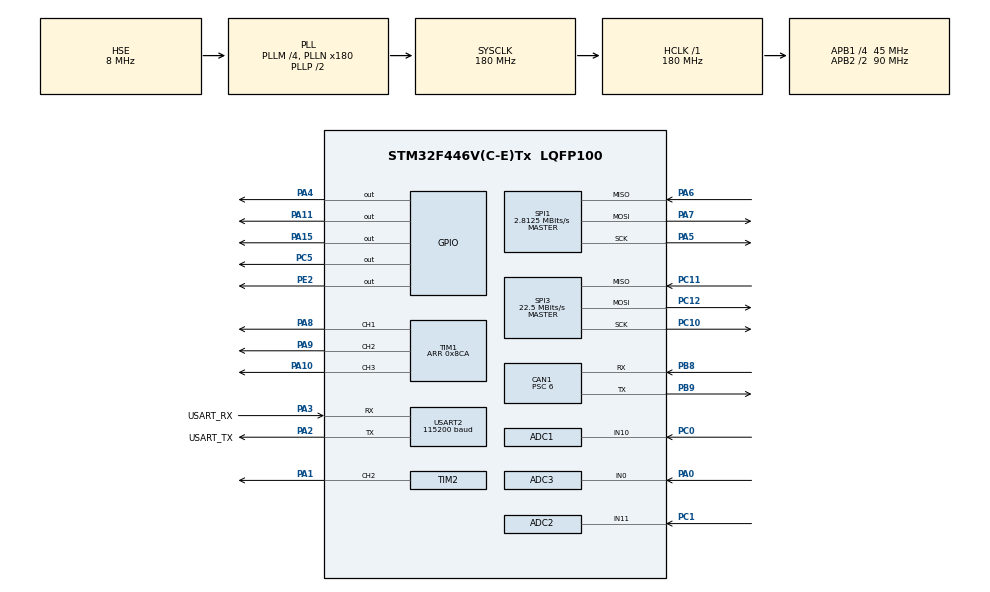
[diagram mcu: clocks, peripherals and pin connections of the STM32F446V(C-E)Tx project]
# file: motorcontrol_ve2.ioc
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Mcu.Family=STM32F4
PA11.GPIO_Speed=GPIO_SPEED_FREQ_VERY_HIGH
PA6.Mode=Full_Duplex_Master
PH0-OSC_IN.Signal=RCC_OSC_IN
RCC.CortexFreq_Value=180000000
SPI3.Direction=SPI_DIRECTION_2LINES
SPI3.VirtualType=VM_MASTER
SPI1.VirtualType=VM_MASTER
ADC2.Channel-0\#ChannelRegularConversion=ADC_CHANNEL_11
TIM1.RepetitionCounter=1
PC12.Signal=SPI3_MOSI
PC10.Signal=SPI3_SCK
PA14.GPIO_Label=TCK
PE2.GPIO_Speed=GPIO_SPEED_FREQ_VERY_HIGH
TIM1.OCFastMode_PWM-PWM\ Generation1\ CH1=TIM_OCFAST_ENABLE
ADC3.Mode=ADC_TRIPLEMODE_REGSIMULT
ADC3.Rank-2\#ChannelRegularConversion=1
RCC.SYSCLKSource=RCC_SYSCLKSOURCE_PLLCLK
ProjectManager.StackSize=0x400
SPI3.CLKPolarity=SPI_POLARITY_HIGH
ADC1.Mode=ADC_TRIPLEMODE_REGSIMULT
SPI1.Direction=SPI_DIRECTION_2LINES
RCC.HCLKFreq_Value=180000000
RCC.APB2TimFreq_Value=180000000
Dma.ADC1.0.Direction=DMA_PERIPH_TO_MEMORY
SPI1.CalculateBaudRate=2.8125 MBits/s
NVIC.DMA2_Stream0_IRQn=true\:0\:0\:false\:false\:true\:false\:true
ADC2.EOCSelection=ADC_EOC_SINGLE_CONV
Dma.ADC1.0.MemDataAlignment=DMA_MDATAALIGN_HALFWORD
RCC.AHBFreq_Value=180000000
PH0-OSC_IN.Mode=HSE-External-Oscillator
SPI3.DataSize=SPI_DATASIZE_16BIT
ADC1.Channel-0\#ChannelRegularConversion=ADC_CHANNEL_10
RCC.HSE_VALUE=8000000
RCC.RCC_RTC_Clock_Source_FROM_HSE=RCC_RTCCLKSOURCE_HSE_DIV20
ADC3.SamplingTime-2\#ChannelRegularConversion=ADC_SAMPLETIME_15CYCLES
PA4.GPIO_Speed=GPIO_SPEED_FREQ_VERY_HIGH
TIM1.Channel-PWM\ Generation1\ CH1=TIM_CHANNEL_1
PA14.Mode=Serial_Wire
Dma.ADC1.0.PeriphInc=DMA_PINC_DISABLE
NVIC.TIM2_IRQn=true\:0\:0\:false\:false\:true\:true\:true
SPI1.DataSize=SPI_DATASIZE_16BIT
PE2.Signal=GPIO_Output
PA8.Signal=S_TIM1_CH1
SH.ADCx_IN0.0=ADC3_IN0,IN0
SPI1.FirstBit=SPI_FIRSTBIT_MSB
ADC3.Channel-2\#ChannelRegularConversion=ADC_CHANNEL_0
VP_TIM1_VS_ClockSourceINT.Mode=Internal
ADC1.SamplingTime-0\#ChannelRegularConversion=ADC_SAMPLETIME_15CYCLES
RCC.FLatency-AdvancedSettings=FLASH_LATENCY_5
PH1-OSC_OUT.Mode=HSE-External-Oscillator
CAN1.Prescaler=6
Mcu.Package=LQFP100
PB9.Signal=CAN1_TX
TIM2.Prescaler=45-1
TIM2.Channel-Output\ Compare2\ CH2=TIM_CHANNEL_2
TIM2.OCMode_2=TIM_OCMODE_TOGGLE
PA6.Signal=SPI1_MISO
SPI3.Mode=SPI_MODE_MASTER
TIM2.OC2Preload=ENABLE
USART2.VirtualMode=VM_ASYNC
TIM1.OCFastMode_PWM-PWM\ Generation3\ CH3=TIM_OCFAST_ENABLE
PA2.GPIO_Label=USART_TX
PA10.Signal=S_TIM1_CH3
PA15.Signal=GPIO_Output
ADC2.SamplingTime-0\#ChannelRegularConversion=ADC_SAMPLETIME_15CYCLES
PC11.Mode=Full_Duplex_Master
ADC3.ClockPrescaler=ADC_CLOCK_SYNC_PCLK_DIV4
ADC3.DMAAccessMode=ADC_DMAACCESSMODE_1
PA10.GPIO_Speed=GPIO_SPEED_FREQ_VERY_HIGH
RCC.APB2CLKDivider=RCC_HCLK_DIV2
RCC.APB1TimFreq_Value=90000000
Dma.ADC1.0.FIFOMode=DMA_FIFOMODE_DISABLE
PC5.Signal=GPIO_Output
TIM1.Period=0x8CA
ADC2.Rank-0\#ChannelRegularConversion=1
Dma.Request0=ADC1
SPI1.BaudRatePrescaler=SPI_BAUDRATEPRESCALER_32
CAN1.CalculateTimeBit=1999.99
TIM1.OCFastMode_PWM-PWM\ Generation4\ No\ Output=TIM_OCFAST_ENABLE
ADC1.EOCSelection=ADC_EOC_SINGLE_CONV
PA8.GPIO_Speed=GPIO_SPEED_FREQ_VERY_HIGH
ADC2.DMAAccessMode=ADC_DMAACCESSMODE_1
PA3.Signal=USART2_RX
CAN1.CalculateTimeQuantum=133.33333333333331
PA5.Mode=Full_Duplex_Master
ADC2.ClockPrescaler=ADC_CLOCK_SYNC_PCLK_DIV4
RCC.PLLSourceVirtual=RCC_PLLSOURCE_HSE
TIM1.OCPolarity_1=TIM_OCPOLARITY_LOW
TIM1.OCPolarity_3=TIM_OCPOLARITY_LOW
Dma.ADC1.0.Instance=DMA2_Stream0
TIM1.OCPolarity_2=TIM_OCPOLARITY_LOW
ADC2.Mode=ADC_TRIPLEMODE_REGSIMULT
TIM1.OCPolarity_4=TIM_OCPOLARITY_LOW
ADC1.Rank-0\#ChannelRegularConversion=1
PA7.Mode=Full_Duplex_Master
TIM1.CounterMode=TIM_COUNTERMODE_CENTERALIGNED1
PC11.Signal=SPI3_MISO
CAN1.CalculateBaudRate=500000
PC10.Mode=Full_Duplex_Master
SPI1.CLKPhase=SPI_PHASE_2EDGE
PC0.Signal=ADCx_IN10
RCC.APB1CLKDivider=RCC_HCLK_DIV4
NVIC.USART2_IRQn=true\:3\:0\:true\:false\:true\:true\:true
USART2.BaudRate=115200
PA0-WKUP.Signal=ADCx_IN0
TIM1.OCFastMode_PWM-PWM\ Generation2\ CH2=TIM_OCFAST_ENABLE
PA13.Signal=SYS_JTMS-SWDIO
PA3.Mode=Asynchronous
TIM1.AutoReloadPreload=TIM_AUTORELOAD_PRELOAD_ENABLE
SH.S_TIM2_CH2.0=TIM2_CH2,Output Compare2 CH2
Dma.ADC1.0.PeriphDataAlignment=DMA_PDATAALIGN_HALFWORD
SH.S_TIM1_CH1.0=TIM1_CH1,PWM Generation1 CH1
CAN1.BS2=CAN_BS2_2TQ
CAN1.BS1=CAN_BS1_12TQ
ProjectManager.TargetToolchain=STM32CubeIDE
Dma.ADC1.0.Mode=DMA_CIRCULAR
PB9.Mode=CAN_Activate
Dma.ADC1.0.Priority=DMA_PRIORITY_HIGH
PA9.Signal=S_TIM1_CH2
TIM1.Channel-PWM\ Generation2\ CH2=TIM_CHANNEL_2
RCC.USBFreq_Value=180000000
PA1.Signal=S_TIM2_CH2
PA5.Signal=SPI1_SCK
PC12.Mode=Full_Duplex_Master
board=custom
SPI3.CLKPhase=SPI_PHASE_2EDGE
RCC.VCOOutputFreq_Value=360000000
VP_TIM1_VS_no_output4.Mode=PWM Generation4 No Output
TIM1.Pulse-PWM\ Generation4\ No\ Output=0x708
RCC.APB2Freq_Value=90000000
SPI3.CalculateBaudRate=22.5 MBits/s
SH.ADCx_IN11.0=ADC2_IN11,IN11
SH.S_TIM1_CH2.0=TIM1_CH2,PWM Generation2 CH2
VP_TIM2_VS_ClockSourceINT.Mode=Internal
SPI1.Mode=SPI_MODE_MASTER
SPI3.BaudRatePrescaler=SPI_BAUDRATEPRESCALER_2
PH1-OSC_OUT.Signal=RCC_OSC_OUT
ADC1.DMAContinuousRequests=ENABLE
TIM2.Period=4
TIM1.BreakPolarity=TIM_BREAKPOLARITY_HIGH
ADC1.NbrOfConversion=1
PA13.Mode=Serial_Wire
TIM1.Channel-PWM\ Generation4\ No\ Output=TIM_CHANNEL_4
Mcu.Name=STM32F446V(C-E)Tx
PA2.Signal=USART2_TX
PA13.GPIO_Label=TMS
ADC1.ExternalTrigConv=ADC_SOFTWARE_START
NVIC.TIM1_CC_IRQn=true\:2\:0\:true\:false\:true\:true\:true
RCC.48MHZClocksFreq_Value=84000000
PA4.Signal=GPIO_Output
RCC.SYSCLKFreq_VALUE=180000000
ADC1.master=1
ADC2.NbrOfConversionFlag=1
PA15.GPIO_Speed=GPIO_SPEED_FREQ_VERY_HIGH
PA11.Signal=GPIO_Output
PA14.Signal=SYS_JTCK-SWCLK
Dma.ADC1.0.MemInc=DMA_MINC_ENABLE
SH.ADCx_IN10.0=ADC1_IN10,IN10
ProjectManager.HeapSize=0x200
ADC3.EOCSelection=ADC_EOC_SINGLE_CONV
SH.S_TIM1_CH3.0=TIM1_CH3,PWM Generation3 CH3
NVIC.TIM1_UP_TIM10_IRQn=true\:1\:0\:true\:false\:true\:true\:true
RCC.HSI_VALUE=16000000
NVIC.PriorityGroup=NVIC_PRIORITYGROUP_2
ADC1.NbrOfConversionFlag=1
PC5.GPIO_Speed=GPIO_SPEED_FREQ_VERY_HIGH
RCC.PLLM=4
PB8.Mode=CAN_Activate
RCC.PLLN=180
PA2.Mode=Asynchronous
PA9.GPIO_Speed=GPIO_SPEED_FREQ_VERY_HIGH
PB8.Signal=CAN1_RX
TIM2.AutoReloadPreload=TIM_AUTORELOAD_PRELOAD_ENABLE
TIM1.Channel-PWM\ Generation3\ CH3=TIM_CHANNEL_3
RCC.APB1Freq_Value=45000000
ADC3.NbrOfConversionFlag=1
ADC1.ClockPrescaler=ADC_CLOCK_SYNC_PCLK_DIV4
PC1.Signal=ADCx_IN11
NVIC.CAN1_RX0_IRQn=true\:3\:0\:true\:false\:true\:true\:true
PA3.GPIO_Label=USART_RX
PA7.Signal=SPI1_MOSI

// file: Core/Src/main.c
/* USER CODE BEGIN Header */
/**
  ******************************************************************************
  * @file           : main.c
  * @brief          : Main program body
  ******************************************************************************
  * @attention
  *
  * <h2><center>&copy; Copyright (c) 2021 STMicroelectronics.
  * All rights reserved.</center></h2>
  *
  * This software component is licensed by ST under BSD 3-Clause license,
  * the "License"; You may not use this file except in compliance with the
  * License. You may obtain a copy of the License at:
  *                        opensource.org/licenses/BSD-3-Clause
  *
  ******************************************************************************
  */

	/// high-bandwidth 3-phase motor control for robots
	/// Written by Ben Katz, with much inspiration from Bayley Wang, Nick Kirkby, Shane Colton, David Otten, and others
	/// Hardware documentation can be found at build-its.blogspot.com

/* USER CODE END Header */
#include "main.h"
#include "adc.h"
#include "can.h"
#include "dma.h"
#include "spi.h"
#include "tim.h"
#include "usart.h"
#include "gpio.h"

/* USER CODE BEGIN Includes */
	#include "structs.h"
	#include <stdio.h>
	#include <string.h>

	#include "stm32f4xx_flash.h"
	#include "flash_writer.h"
	#include "position_sensor.h"
	#include "preference_writer.h"
	#include "hw_config.h"
	#include "user_config.h"
	#include "fsm.h"
	#include "drv8323.h"
	#include "foc.h"
	#include "math_ops.h"
	#include "calibration.h"
	#include "observer.h"
/* USER CODE END Includes */

/* USER CODE BEGIN PM */
	#define VERSION_NUM 2.1f
/* USER CODE END PM */

/* USER CODE BEGIN PV */
	/* Flash Registers */
	float __float_reg[64];
	int __int_reg[256];
	PreferenceWriter prefs;

	int count = 0;

	/* Structs for control, etc */

	ControllerStruct controller;
	ObserverStruct observer;
	COMStruct com;
	FSMStruct state;
	EncoderStruct comm_encoder;
	DRVStruct drv;
	CalStruct comm_encoder_cal;
	CANTxMessage can_tx;
	CANRxMessage can_rx;

	/* init but don't allocate calibration arrays */
	int *error_array = NULL;
	int *lut_array = NULL;

	static uint8_t Serial2RxBuffer[1];
/* USER CODE END PV */

void SystemClock_Config(void);

int main(void)
{

  /* MCU Configuration--------------------------------------------------------*/

  /* Reset of all peripherals, Initializes the Flash interface and the Systick. */
  HAL_Init();

  /* Configure the system clock */
  SystemClock_Config();

  /* Initialize all configured peripherals */
  MX_GPIO_Init();
  MX_DMA_Init();
  MX_ADC1_Init();
  MX_ADC2_Init();
  MX_ADC3_Init();
  MX_CAN1_Init();
  MX_SPI1_Init();
  MX_SPI3_Init();
  MX_TIM1_Init();
  MX_USART2_UART_Init();
  MX_TIM2_Init();
  /* USER CODE BEGIN 2 */

  	/* Time measurement counter */
//  	HAL_TIM_Base_Start(&htim2);
   HAL_TIM_OC_Start_IT(&htim2, TIM_CHANNEL_2);
	/* Load settings from flash */
	preference_writer_init(&prefs, 6);
	preference_writer_load(prefs);

	/* Sanitize configs in case flash is empty*/
	if(E_ZERO==-1){E_ZERO = 0;}
	if(M_ZERO==-1){M_ZERO = 0;}
	if(isnan(I_BW) || I_BW==-1){I_BW = 1000;}
	if(isnan(I_MAX) || I_MAX ==-1){I_MAX=30;}
	if(isnan(I_FW_MAX) || I_FW_MAX ==-1){I_FW_MAX=0;}
	if(CAN_ID==-1){CAN_ID = 1;}
	if(CAN_MASTER==-1){CAN_MASTER = 0;}
	if(CAN_TIMEOUT==-1){CAN_TIMEOUT = 1000;}
	if(isnan(R_NOMINAL) || R_NOMINAL==-1){R_NOMINAL = 0.0f;}
	if(isnan(TEMP_MAX) || TEMP_MAX==-1){TEMP_MAX = 125.0f;}
	if(isnan(I_MAX_CONT) || I_MAX_CONT==-1){I_MAX_CONT = 14.0f;}
	if(isnan(I_CAL)||I_CAL==-1){I_CAL = 3.0f;}
	if(isnan(PPAIRS) || PPAIRS==-1){PPAIRS = 28.0f;}
	if(isnan(GR) || GR==-1){GR = 1.0f;}
	if(isnan(KT) || KT==-1){KT = 1.0f;}
	if(isnan(KP_MAX) || KP_MAX==-1){KP_MAX = 500.0f;}
	if(isnan(KD_MAX) || KD_MAX==-1){KD_MAX = 5.0f;}
	if(isnan(P_MAX)){P_MAX = 12.5f;}
	if(isnan(P_MIN)){P_MIN = -12.5f;}
	if(isnan(V_MAX)){V_MAX = 65.0f;}
	if(isnan(V_MIN)){V_MIN = -65.0f;}

	printf("\r\nFirmware Version Number: %.2f\r\n", VERSION_NUM);

	/* Controller Setup */
	// 	  if(PHASE_ORDER){							// Timer channel to phase mapping
	//
	// 	  }
	// 	  else{
	//
	// 	  }

	init_controller_params(&controller);

	/* calibration "encoder" zeroing */
	memset(&comm_encoder_cal.encoder_p, 0, sizeof(EncoderStruct));

	/* commutation encoder setup */
	comm_encoder.m_zero = M_ZERO;
	comm_encoder.e_zero = E_ZERO;
	comm_encoder.ppairs = PPAIRS;
	ps_warmup(&comm_encoder, 100);			// clear the noisy data when the encoder first turns on

	if(EN_ENC_LINEARIZATION){memcpy(&comm_encoder.offset_lut, &ENCODER_LUT, sizeof(comm_encoder.offset_lut));}	// Copy the linearization lookup table
	else{memset(&comm_encoder.offset_lut, 0, sizeof(comm_encoder.offset_lut));}
	//for(int i = 0; i<128; i++){printf("%d\r\n", comm_encoder.offset_lut[i]);}

 	/* ADCs and DMA configuration */
	if(HAL_ADC_Start(&hadc2)!= HAL_OK)
	{
	  Error_Handler();
	}
	if(HAL_ADC_Start(&hadc3)!= HAL_OK)
	{
	  Error_Handler();
	}

	/* By calling this function - MultiMode will be triggered and DMA Transfer interrupt should be expected
	 * More details: It starts ADC1, triggers start of the ADC2 and ADC3 which triggers DMA
	 * */
	if(HAL_ADCEx_MultiModeStart_DMA(&hadc1, (uint32_t*)controller.adc_data, 3)!= HAL_OK)
	{
	  Error_Handler();
	}

	/* DRV8323 setup */

	HAL_GPIO_WritePin(ENABLE_PIN, GPIO_PIN_SET );
	HAL_Delay(1);
	//drv_calibrate(drv);
	HAL_Delay(1);
	drv_write_DCR(drv, 0x0, DIS_GDF_EN, 0x0, PWM_MODE_3X, 0x0, 0x0, 0x0, 0x0, 0x1);
	HAL_Delay(1);
	drv_write_CSACR(drv, 0x0, 0x1, 0x0, CSA_GAIN_40, 0x0, 0x1, 0x1, 0x1, SEN_LVL_1_0);
	HAL_Delay(10);
	zero_current(&controller);
	HAL_Delay(1);
	drv_write_CSACR(drv, 0x0, 0x1, 0x0, CSA_GAIN_40, 0x1, 0x0, 0x0, 0x0, SEN_LVL_1_0);
	HAL_Delay(1);
	drv_write_OCPCR(drv, TRETRY_50US, DEADTIME_50NS, OCP_NONE, OCP_DEG_8US, VDS_LVL_1_88); //TODO: increase deadtime
	HAL_Delay(1);
	drv_disable_gd(drv);
	HAL_Delay(10);
	// 	  uint16_t reg_check = drv_read_register(drv, DCR);
	// 	  drv_enable_gd(drv);
	printf("ADC A OFFSET: %d     ADC B OFFSET: %d\r\n", controller.adc_ch_i_offset[0], controller.adc_ch_i_offset[1]);

	/* Turn on PWM */
	HAL_TIM_PWM_Start(&htim1, TIM_CHANNEL_1);
	HAL_TIM_PWM_Start(&htim1, TIM_CHANNEL_2);
	HAL_TIM_PWM_Start(&htim1, TIM_CHANNEL_3);
	HAL_TIM_PWM_Start(&htim1, TIM_CHANNEL_4);

	/* CAN setup */
	CAN_User_Config(&CAN_H, &can_rx, &can_tx);

	/* Start the FSM */
	state.state = SETUP_MODE;
	state.next_state = MENU_MODE;
	state.ready = 1;

	/* Turn on interrupts */
	HAL_UART_Receive_IT(&huart2, (uint8_t *)Serial2RxBuffer, 1);
	__HAL_TIM_ENABLE_IT(&htim1, TIM_IT_CC4);	// Sets the CC interrupt for channel 4
	HAL_TIM_Base_Start_IT(&htim1);	// Starts counter and enables interrupts
	reset_foc(&controller);
//	printf("Start program\r\n");
  /* USER CODE END 2 */

  /* Infinite loop */
  /* USER CODE BEGIN WHILE */
  while (1)
  {
	/* Least important processing */
	drv_print_faults(drv);
	HAL_Delay(100);
//	if(state.state==MOTOR_MODE)
//	{
//		  printf("%.2f %.2f %.2f %.2f %.2f\r\n", controller.i_a, controller.i_b, controller.i_d, controller.i_q, controller.dtheta_elec);
//	}
	//	  printf("Can received p_des: %.3f\t  v_des: %.3f\t  kp: %.3f\t  kd: %.3f\t  t_ff: %.3f\t  i_q_ref: %.3f \n\r", controller.p_des, controller.v_des, controller.kp, controller.kd, controller.t_ff, controller.i_q_des);

    /* USER CODE END WHILE */

  }
}

void SystemClock_Config(void)
{
  RCC_OscInitTypeDef RCC_OscInitStruct = {0};
  RCC_ClkInitTypeDef RCC_ClkInitStruct = {0};

  /** Configure the main internal regulator output voltage
  */
  __HAL_RCC_PWR_CLK_ENABLE();
  __HAL_PWR_VOLTAGESCALING_CONFIG(PWR_REGULATOR_VOLTAGE_SCALE1);
  /** Initializes the RCC Oscillators according to the specified parameters
  * in the RCC_OscInitTypeDef structure.
  */
  RCC_OscInitStruct.OscillatorType = RCC_OSCILLATORTYPE_HSE;
  RCC_OscInitStruct.HSEState = RCC_HSE_ON;
  RCC_OscInitStruct.PLL.PLLState = RCC_PLL_ON;
  RCC_OscInitStruct.PLL.PLLSource = RCC_PLLSOURCE_HSE;
  RCC_OscInitStruct.PLL.PLLM = 4;
  RCC_OscInitStruct.PLL.PLLN = 180;
  RCC_OscInitStruct.PLL.PLLP = RCC_PLLP_DIV2;
  RCC_OscInitStruct.PLL.PLLQ = 2;
  RCC_OscInitStruct.PLL.PLLR = 2;
  if (HAL_RCC_OscConfig(&RCC_OscInitStruct) != HAL_OK)
  {
    Error_Handler();
  }
  /** Activate the Over-Drive mode
  */
  if (HAL_PWREx_EnableOverDrive() != HAL_OK)
  {
    Error_Handler();
  }
  /** Initializes the CPU, AHB and APB buses clocks
  */
  RCC_ClkInitStruct.ClockType = RCC_CLOCKTYPE_HCLK|RCC_CLOCKTYPE_SYSCLK
                              |RCC_CLOCKTYPE_PCLK1|RCC_CLOCKTYPE_PCLK2;
  RCC_ClkInitStruct.SYSCLKSource = RCC_SYSCLKSOURCE_PLLCLK;
  RCC_ClkInitStruct.AHBCLKDivider = RCC_SYSCLK_DIV1;
  RCC_ClkInitStruct.APB1CLKDivider = RCC_HCLK_DIV4;
  RCC_ClkInitStruct.APB2CLKDivider = RCC_HCLK_DIV2;

  if (HAL_RCC_ClockConfig(&RCC_ClkInitStruct, FLASH_LATENCY_5) != HAL_OK)
  {
    Error_Handler();
  }
}

/* USER CODE BEGIN 4 */

void HAL_CAN_RxFifo0MsgPendingCallback(CAN_HandleTypeDef *hcan)
{
	/* Get RX message */
	if (hcan != &CAN_H){
		printf("Check can receiver!");
	}
	if (HAL_CAN_GetRxMessage(&CAN_H, CAN_RX_FIFO0, &can_rx.rx_header, can_rx.data) != HAL_OK)
	{
		/* Reception Error */
		Error_Handler();
	}

	// Read CAN
	uint32_t TxMailbox;
	// Data that can be sent also: controller.i_a, controller.i_b
	pack_reply(&can_tx, CAN_ID,  comm_encoder.angle_multiturn[N_POS_SAMPLES-1]/GR, comm_encoder.velocity, controller.i_q);	// Pack response
//	pack_reply(&can_tx, CAN_ID,  comm_encoder.angle_multiturn[N_POS_SAMPLES-1]/GR, controller.i_a, controller.i_b);
	HAL_CAN_AddTxMessage(&CAN_H, &can_tx.tx_header, can_tx.data, &TxMailbox);	// Send response

	/* Check for special Commands */
	if((can_rx.data[0]==0xFF) && (can_rx.data[1]==0xFF) && (can_rx.data[2]==0xFF) && (can_rx.data[3]==0xFF) && (can_rx.data[4]==0xFF) && (can_rx.data[5]==0xFF) && (can_rx.data[6]==0xFF))
	{
		controller.can_fsm_upd_req_flag = 1;
		switch (can_rx.data[7])
		{
		case 0xFC:
			controller.can_command = MOTOR_CMD;
			break;
		case 0xFD:
			controller.can_command = MENU_CMD;
			break;
		case 0xFE:
			controller.can_command = ZERO_CMD;
			break;
		default:
			controller.can_fsm_upd_req_flag = 0; //No valid command received
			break;
		}
		if (controller.can_fsm_upd_req_flag)
		{
			update_fsm(&state, controller.can_command);
		}
	}
	else{
		unpack_cmd(can_rx, &controller);		// Unpack commands
		controller.timeout = 0;					// Reset timeout counter
	}

}

void HAL_UART_RxCpltCallback(UART_HandleTypeDef *huart)
{
	update_fsm(&state, (char) Serial2RxBuffer[0]);
  /* Prevent unused argument(s) compilation warning */
	HAL_UART_Receive_IT(&huart2, Serial2RxBuffer, 1);
}

void adc_data_ready_update(uint8_t val)
{
	controller.adc_data_ready_flag = val;
}
/* USER CODE END 4 */

void Error_Handler(void)
{
  __disable_irq();
  while (1)
  {
  }
}

/************************ (C) COPYRIGHT STMicroelectronics *****END OF FILE****/
